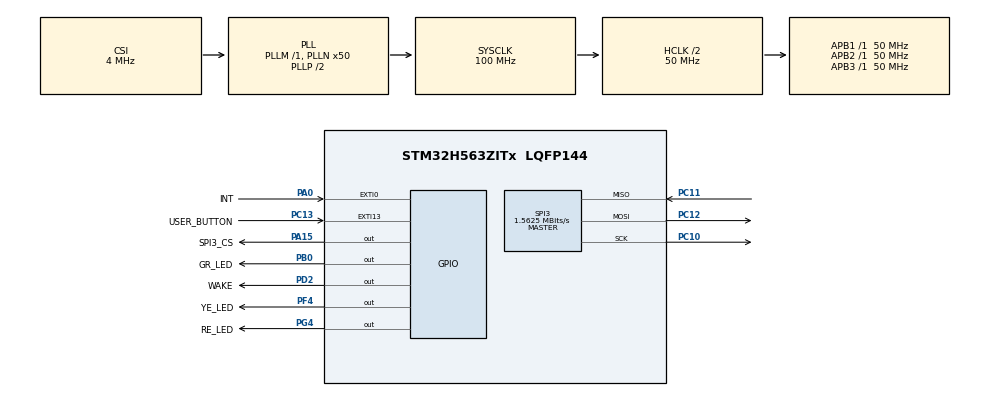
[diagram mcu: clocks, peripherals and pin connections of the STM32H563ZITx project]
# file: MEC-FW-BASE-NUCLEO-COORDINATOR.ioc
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BOOTPATH.BootPathName=LEGACY
BOOTPATH.UserSelectedBootPath=LEGACY
CORTEX_M33_NS.userName=CORTEX_M33
Mcu.Family=STM32H5
Mcu.Name=STM32H563ZITx
Mcu.Package=LQFP144
NVIC.EXTI0_IRQn=true\:0\:0\:false\:false\:true\:true\:true\:true
NVIC.EXTI13_IRQn=true\:0\:0\:false\:false\:true\:true\:true\:true
NVIC.PriorityGroup=NVIC_PRIORITYGROUP_4
NVIC.TIM6_IRQn=true\:0\:0\:false\:false\:true\:true\:true\:true
PA0.GPIO_Label=INT
PA0.GPIO_ModeDefaultEXTI=GPIO_MODE_IT_FALLING
PA0.Signal=GPXTI0
PA13(JTMS/SWDIO).Mode=Trace_Asynchronous_SW
PA13(JTMS/SWDIO).Signal=DEBUG_JTMS-SWDIO
PA14(JTCK/SWCLK).Mode=Trace_Asynchronous_SW
PA14(JTCK/SWCLK).Signal=DEBUG_JTCK-SWCLK
PA15(JTDI).GPIO_Label=SPI3_CS
PA15(JTDI).GPIO_Speed=GPIO_SPEED_FREQ_VERY_HIGH
PA15(JTDI).PinState=GPIO_PIN_SET
PA15(JTDI).Signal=GPIO_Output
PB0.GPIO_Label=GR_LED
PB0.Signal=GPIO_Output
PB3(JTDO/TRACESWO).Mode=Trace_Asynchronous_SW
PB3(JTDO/TRACESWO).Signal=DEBUG_JTDO-SWO
PC10.Mode=Full_Duplex_Master
PC10.Signal=SPI3_SCK
PC11.Mode=Full_Duplex_Master
PC11.Signal=SPI3_MISO
PC12.Mode=Full_Duplex_Master
PC12.Signal=SPI3_MOSI
PC13.GPIO_Label=USER_BUTTON
PC13.GPIO_ModeDefaultEXTI=GPIO_MODE_IT_RISING
PC13.Signal=GPXTI13
PD2.GPIO_Label=WAKE
PD2.Signal=GPIO_Output
PF4.GPIO_Label=YE_LED
PF4.Signal=GPIO_Output
PG4.GPIO_Label=RE_LED
PG4.Signal=GPIO_Output
ProjectManager.HeapSize=0x200
ProjectManager.StackSize=0x400
ProjectManager.TargetToolchain=STM32CubeIDE
RCC.ADCFreq_Value=50000000
RCC.AHBCLKDivider=RCC_SYSCLK_DIV2
RCC.AHBFreq_Value=50000000
RCC.APB1Freq_Value=50000000
RCC.APB1TimFreq_Value=50000000
RCC.APB2Freq_Value=50000000
RCC.APB2TimFreq_Value=50000000
RCC.APB3Freq_Value=50000000
RCC.CSI_VALUE=4000000
RCC.CortexFreq_Value=50000000
RCC.EPOD_VALUE=4000000
RCC.HCLKFreq_Value=50000000
RCC.HSE_VALUE=25000000
RCC.HSI48_VALUE=48000000
RCC.HSI_VALUE=64000000
RCC.LSE_VALUE=32768
RCC.LSIRC_VALUE=32000
RCC.PLLFRACN=0
RCC.PLLN=50
RCC.SYSCLKFreq_VALUE=100000000
RCC.SYSCLKSource=RCC_SYSCLKSOURCE_PLLCLK
RCC.USBFreq_Value=48000000
RCC.VCOOutputFreq_Value=200000000
SPI3.BaudRatePrescaler=SPI_BAUDRATEPRESCALER_64
SPI3.CalculateBaudRate=1.5625 MBits/s
SPI3.DataSize=SPI_DATASIZE_8BIT
SPI3.Direction=SPI_DIRECTION_2LINES
SPI3.Mode=SPI_MODE_MASTER
SPI3.NSSPMode=SPI_NSS_PULSE_DISABLE
SPI3.VirtualType=VM_MASTER
TIM6.PeriodNoDither=500-1
TIM6.Prescaler=50000-1
VP_BOOTPATH_VS_BOOTPATH.Mode=BP_Activate
VP_CORTEX_M33_NS_VS_Hclk.Mode=Hclk_Mode
VP_ICACHE_VS_ENABLE_ICACHE_MEMORY.Mode=Memoryregions
VP_ICACHE_VS_ICACHE.Mode=DirectMappedCache
VP_MEMORYMAP_VS_MEMORYMAP.Mode=CurAppReg
VP_PWR_VS_LPOM.Mode=PowerOptimisation
VP_PWR_VS_SECSignals.Mode=Security/Privilege
VP_TIM6_VS_ClockSourceINT.Mode=Enable_Timer
board=custom

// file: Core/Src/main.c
/* USER CODE BEGIN Header */
/**
  ******************************************************************************
  * @file           : main.c
  * @brief          : Main program body
  ******************************************************************************
  * @attention
  *
  * Copyright (c) 2026 STMicroelectronics.
  * All rights reserved.
  *
  * This software is licensed under terms that can be found in the LICENSE file
  * in the root directory of this software component.
  * If no LICENSE file comes with this software, it is provided AS-IS.
  *
  ******************************************************************************
  */
/* USER CODE END Header */

#include "main.h"

/* USER CODE BEGIN Includes */
#include "mrf24j40.h"
#include "swo.h"
/* USER CODE END Includes */

/* USER CODE BEGIN PTD */

/**
 * @brief Logical network role assigned to the local MRF24J40 node.
 *
 * @details
 * This role selection determines which nonbeacon MAC configuration helper is
 * applied during task initialization.
 */
typedef enum
{
    MRF24J40_ROLE_DEVICE = 0,
    MRF24J40_ROLE_PAN_COORDINATOR
} mrf24j40_role_t;

/**
 * @brief Static configuration used to initialize the MRF24J40 task.
 *
 * @details
 * This structure contains the minimum configuration required by the task to
 * initialize the low-level driver and assign the local node identity within a
 * nonbeacon-enabled IEEE 802.15.4 network.
 */
typedef struct
{
    uint16_t pan_id;
    uint16_t short_address;
    mrf24j40_role_t role;
} mrf24j40_task_config_t;

/* USER CODE END PTD */

SPI_HandleTypeDef hspi3;
TIM_HandleTypeDef htim6;

/* USER CODE BEGIN PV */
static mrf24j40_packet_t tx_packet;
static mrf24j40_packet_t rx_packet;
static bool tx_flag;
static mrf24j40_task_config_t radio_cfg;
/* USER CODE END PV */

void SystemClock_Config(void);
static void MX_GPIO_Init(void);
static void MX_ICACHE_Init(void);
static void MX_SPI3_Init(void);
static void MX_TIM6_Init(void);

/* USER CODE BEGIN PFP */
static void app_init(void);
static void app_task(void);
static void app_build_test_frame(void);
static void app_print_frame(const char *prefix,
                            const uint8_t *frame,
                            uint8_t length);
/* USER CODE END PFP */

int main(void)
{

  /* MCU Configuration--------------------------------------------------------*/

  /* Reset of all peripherals, Initializes the Flash interface and the Systick. */
  HAL_Init();

  /* Configure the system clock */
  SystemClock_Config();

  /* Initialize all configured peripherals */
  MX_GPIO_Init();
  MX_ICACHE_Init();
  MX_SPI3_Init();
  MX_TIM6_Init();

  /* USER CODE BEGIN 2 */

  /* Para toggle del led amarillo */
  HAL_TIM_Base_Start_IT(&htim6);

  app_init();

  /* USER CODE END 2 */

  /* Infinite loop */
  /* USER CODE BEGIN WHILE */
  while (1)
  {
      app_task();

    /* USER CODE END WHILE */

  }
}

void SystemClock_Config(void)
{
  RCC_OscInitTypeDef RCC_OscInitStruct = {0};
  RCC_ClkInitTypeDef RCC_ClkInitStruct = {0};

  /** Configure the main internal regulator output voltage
  */
  __HAL_PWR_VOLTAGESCALING_CONFIG(PWR_REGULATOR_VOLTAGE_SCALE3);

  while(!__HAL_PWR_GET_FLAG(PWR_FLAG_VOSRDY)) {}

  /** Initializes the RCC Oscillators according to the specified parameters
  * in the RCC_OscInitTypeDef structure.
  */
  RCC_OscInitStruct.OscillatorType = RCC_OSCILLATORTYPE_CSI;
  RCC_OscInitStruct.CSIState = RCC_CSI_ON;
  RCC_OscInitStruct.CSICalibrationValue = RCC_CSICALIBRATION_DEFAULT;
  RCC_OscInitStruct.PLL.PLLState = RCC_PLL_ON;
  RCC_OscInitStruct.PLL.PLLSource = RCC_PLL1_SOURCE_CSI;
  RCC_OscInitStruct.PLL.PLLM = 1;
  RCC_OscInitStruct.PLL.PLLN = 50;
  RCC_OscInitStruct.PLL.PLLP = 2;
  RCC_OscInitStruct.PLL.PLLQ = 2;
  RCC_OscInitStruct.PLL.PLLR = 2;
  RCC_OscInitStruct.PLL.PLLRGE = RCC_PLL1_VCIRANGE_2;
  RCC_OscInitStruct.PLL.PLLVCOSEL = RCC_PLL1_VCORANGE_WIDE;
  RCC_OscInitStruct.PLL.PLLFRACN = 0;

  if (HAL_RCC_OscConfig(&RCC_OscInitStruct) != HAL_OK)
  {
    Error_Handler();
  }

  /** Initializes the CPU, AHB and APB buses clocks
  */
  RCC_ClkInitStruct.ClockType = RCC_CLOCKTYPE_HCLK|RCC_CLOCKTYPE_SYSCLK
                              |RCC_CLOCKTYPE_PCLK1|RCC_CLOCKTYPE_PCLK2
                              |RCC_CLOCKTYPE_PCLK3;

  RCC_ClkInitStruct.SYSCLKSource = RCC_SYSCLKSOURCE_PLLCLK;
  RCC_ClkInitStruct.AHBCLKDivider = RCC_SYSCLK_DIV2;
  RCC_ClkInitStruct.APB1CLKDivider = RCC_HCLK_DIV1;
  RCC_ClkInitStruct.APB2CLKDivider = RCC_HCLK_DIV1;
  RCC_ClkInitStruct.APB3CLKDivider = RCC_HCLK_DIV1;

  if (HAL_RCC_ClockConfig(&RCC_ClkInitStruct, FLASH_LATENCY_4) != HAL_OK)
  {
    Error_Handler();
  }

  /** Configure the programming delay
  */
  __HAL_FLASH_SET_PROGRAM_DELAY(FLASH_PROGRAMMING_DELAY_2);
}

static void MX_ICACHE_Init(void)
{

  /** Enable instruction cache in 1-way (direct mapped cache)
  */
  if (HAL_ICACHE_ConfigAssociativityMode(ICACHE_1WAY) != HAL_OK)
  {
    Error_Handler();
  }

  if (HAL_ICACHE_Enable() != HAL_OK)
  {
    Error_Handler();
  }

}

static void MX_SPI3_Init(void)
{

  /* SPI3 parameter configuration*/
  hspi3.Instance = SPI3;
  hspi3.Init.Mode = SPI_MODE_MASTER;
  hspi3.Init.Direction = SPI_DIRECTION_2LINES;
  hspi3.Init.DataSize = SPI_DATASIZE_8BIT;
  hspi3.Init.CLKPolarity = SPI_POLARITY_LOW;
  hspi3.Init.CLKPhase = SPI_PHASE_1EDGE;
  hspi3.Init.NSS = SPI_NSS_SOFT;
  hspi3.Init.BaudRatePrescaler = SPI_BAUDRATEPRESCALER_64;
  hspi3.Init.FirstBit = SPI_FIRSTBIT_MSB;
  hspi3.Init.TIMode = SPI_TIMODE_DISABLE;
  hspi3.Init.CRCCalculation = SPI_CRCCALCULATION_DISABLE;
  hspi3.Init.CRCPolynomial = 0x7;
  hspi3.Init.NSSPMode = SPI_NSS_PULSE_DISABLE;
  hspi3.Init.NSSPolarity = SPI_NSS_POLARITY_LOW;
  hspi3.Init.FifoThreshold = SPI_FIFO_THRESHOLD_01DATA;
  hspi3.Init.MasterSSIdleness = SPI_MASTER_SS_IDLENESS_00CYCLE;
  hspi3.Init.MasterInterDataIdleness = SPI_MASTER_INTERDATA_IDLENESS_00CYCLE;
  hspi3.Init.MasterReceiverAutoSusp = SPI_MASTER_RX_AUTOSUSP_DISABLE;
  hspi3.Init.MasterKeepIOState = SPI_MASTER_KEEP_IO_STATE_DISABLE;
  hspi3.Init.IOSwap = SPI_IO_SWAP_DISABLE;
  hspi3.Init.ReadyMasterManagement = SPI_RDY_MASTER_MANAGEMENT_INTERNALLY;
  hspi3.Init.ReadyPolarity = SPI_RDY_POLARITY_HIGH;

  if (HAL_SPI_Init(&hspi3) != HAL_OK)
  {
    Error_Handler();
  }

}

static void MX_TIM6_Init(void)
{

  TIM_MasterConfigTypeDef sMasterConfig = {0};

  htim6.Instance = TIM6;
  htim6.Init.Prescaler = 50000-1;
  htim6.Init.CounterMode = TIM_COUNTERMODE_UP;
  htim6.Init.Period = 499;
  htim6.Init.AutoReloadPreload = TIM_AUTORELOAD_PRELOAD_DISABLE;

  if (HAL_TIM_Base_Init(&htim6) != HAL_OK)
  {
    Error_Handler();
  }

  sMasterConfig.MasterOutputTrigger = TIM_TRGO_RESET;
  sMasterConfig.MasterSlaveMode = TIM_MASTERSLAVEMODE_DISABLE;

  if (HAL_TIMEx_MasterConfigSynchronization(&htim6, &sMasterConfig) != HAL_OK)
  {
    Error_Handler();
  }

}

static void MX_GPIO_Init(void)
{
  GPIO_InitTypeDef GPIO_InitStruct = {0};

  /* GPIO Ports Clock Enable */
  __HAL_RCC_GPIOC_CLK_ENABLE();
  __HAL_RCC_GPIOF_CLK_ENABLE();
  __HAL_RCC_GPIOA_CLK_ENABLE();
  __HAL_RCC_GPIOB_CLK_ENABLE();
  __HAL_RCC_GPIOG_CLK_ENABLE();
  __HAL_RCC_GPIOD_CLK_ENABLE();

  /*Configure GPIO pin Output Level */
  HAL_GPIO_WritePin(YE_LED_GPIO_Port, YE_LED_Pin, GPIO_PIN_RESET);

  /*Configure GPIO pin Output Level */
  HAL_GPIO_WritePin(GR_LED_GPIO_Port, GR_LED_Pin, GPIO_PIN_RESET);

  /*Configure GPIO pin Output Level */
  HAL_GPIO_WritePin(RE_LED_GPIO_Port, RE_LED_Pin, GPIO_PIN_RESET);

  /*Configure GPIO pin Output Level */
  HAL_GPIO_WritePin(SPI3_CS_GPIO_Port, SPI3_CS_Pin, GPIO_PIN_SET);

  /*Configure GPIO pin Output Level */
  HAL_GPIO_WritePin(WAKE_GPIO_Port, WAKE_Pin, GPIO_PIN_RESET);

  /*Configure GPIO pin : USER_BUTTON_Pin */
  GPIO_InitStruct.Pin = USER_BUTTON_Pin;
  GPIO_InitStruct.Mode = GPIO_MODE_IT_RISING;
  GPIO_InitStruct.Pull = GPIO_NOPULL;
  HAL_GPIO_Init(USER_BUTTON_GPIO_Port, &GPIO_InitStruct);

  /*Configure GPIO pin : YE_LED_Pin */
  GPIO_InitStruct.Pin = YE_LED_Pin;
  GPIO_InitStruct.Mode = GPIO_MODE_OUTPUT_PP;
  GPIO_InitStruct.Pull = GPIO_NOPULL;
  GPIO_InitStruct.Speed = GPIO_SPEED_FREQ_LOW;
  HAL_GPIO_Init(YE_LED_GPIO_Port, &GPIO_InitStruct);

  /*Configure GPIO pin : INT_Pin */
  GPIO_InitStruct.Pin = INT_Pin;
  GPIO_InitStruct.Mode = GPIO_MODE_IT_FALLING;
  GPIO_InitStruct.Pull = GPIO_NOPULL;
  HAL_GPIO_Init(INT_GPIO_Port, &GPIO_InitStruct);

  /*Configure GPIO pin : GR_LED_Pin */
  GPIO_InitStruct.Pin = GR_LED_Pin;
  GPIO_InitStruct.Mode = GPIO_MODE_OUTPUT_PP;
  GPIO_InitStruct.Pull = GPIO_NOPULL;
  GPIO_InitStruct.Speed = GPIO_SPEED_FREQ_LOW;
  HAL_GPIO_Init(GR_LED_GPIO_Port, &GPIO_InitStruct);

  /*Configure GPIO pin : RE_LED_Pin */
  GPIO_InitStruct.Pin = RE_LED_Pin;
  GPIO_InitStruct.Mode = GPIO_MODE_OUTPUT_PP;
  GPIO_InitStruct.Pull = GPIO_NOPULL;
  GPIO_InitStruct.Speed = GPIO_SPEED_FREQ_LOW;
  HAL_GPIO_Init(RE_LED_GPIO_Port, &GPIO_InitStruct);

  /*Configure GPIO pin : SPI3_CS_Pin */
  GPIO_InitStruct.Pin = SPI3_CS_Pin;
  GPIO_InitStruct.Mode = GPIO_MODE_OUTPUT_PP;
  GPIO_InitStruct.Pull = GPIO_NOPULL;
  GPIO_InitStruct.Speed = GPIO_SPEED_FREQ_VERY_HIGH;
  HAL_GPIO_Init(SPI3_CS_GPIO_Port, &GPIO_InitStruct);

  /*Configure GPIO pin : WAKE_Pin */
  GPIO_InitStruct.Pin = WAKE_Pin;
  GPIO_InitStruct.Mode = GPIO_MODE_OUTPUT_PP;
  GPIO_InitStruct.Pull = GPIO_NOPULL;
  GPIO_InitStruct.Speed = GPIO_SPEED_FREQ_LOW;
  HAL_GPIO_Init(WAKE_GPIO_Port, &GPIO_InitStruct);

  /* EXTI interrupt init*/
  HAL_NVIC_SetPriority(EXTI0_IRQn, 0, 0);
  HAL_NVIC_EnableIRQ(EXTI0_IRQn);

  HAL_NVIC_SetPriority(EXTI13_IRQn, 0, 0);
  HAL_NVIC_EnableIRQ(EXTI13_IRQn);

}

/* USER CODE BEGIN 4 */

static void app_print_frame(const char *prefix,
                            const uint8_t *frame,
                            uint8_t length)
{
    uint8_t i;

    printf("%s", prefix);

    for (i = 0u; i < length; i++)
    {
        printf("%02X", frame[i]);

        if (i < (length - 1u))
        {
            printf(" ");
        }
    }

    printf("\r\n");
}

static void app_init(void)
{
    radio_cfg.pan_id = 0x1234u;
    radio_cfg.short_address = 0x0001u;
    radio_cfg.role = MRF24J40_ROLE_PAN_COORDINATOR;

    (void)mrf24j40_init();

    if (radio_cfg.role == MRF24J40_ROLE_PAN_COORDINATOR)
    {
        (void)mrf24j40_configure_nonbeacon_pan_coordinator();
    }
    else
    {
        (void)mrf24j40_configure_nonbeacon_device();
    }

    (void)mrf24j40_set_pan_id(radio_cfg.pan_id);
    (void)mrf24j40_set_short_address(radio_cfg.short_address);
    (void)mrf24j40_set_extended_address();

    printf("[RADIO] COORDINATOR READY - PAN: 0x%04X - ADDR: 0x%04X\r\n",
           radio_cfg.pan_id,
           radio_cfg.short_address);
}

static void app_task(void)
{
    mrf24j40_status_t status;
    bool tx_complete;

    /* Verifica interrupciones pendientes */
    (void)mrf24j40_update_interrupt_flags();

    /* Si hay mensaje pendiente, lo lee y procesa */
    status = mrf24j40_read_rx_fifo(&rx_packet);

    if (status == MRF24J40_OK)
    {
        printf("[RADIO] RX LENGTH: %u\r\n",
               (unsigned int)rx_packet.frame_length);

        printf("[RADIO] RX: %02X %02X %02X %02X %02X %02X "
               "%02X %02X %02X %02X %02X %02X\r\n",
               rx_packet.frame[0],
               rx_packet.frame[1],
               rx_packet.frame[2],
               rx_packet.frame[3],
               rx_packet.frame[4],
               rx_packet.frame[5],
               rx_packet.frame[6],
               rx_packet.frame[7],
               rx_packet.frame[8],
               rx_packet.frame[9],
               rx_packet.frame[10],
               rx_packet.frame[11]);

        __NOP();
    }

    /* Verifica si se debe transmitir un paquete */
    if (tx_flag == 1u)
    {
        /* Deshabilita bandera de transmision */
        tx_flag = 0u;

        /* Arma el paquete a transmitir */
        app_build_test_frame();

        app_print_frame("[RADIO] TX: ",
                        tx_packet.frame,
                        tx_packet.frame_length);

        /* Transmite paquete con ACK deshabilitado */
        (void)mrf24j40_write_tx_normal_fifo(&tx_packet, false);
    }

    /* Espera confirmación de transmision */
    status = mrf24j40_get_tx_complete(&tx_complete);

    if ((status == MRF24J40_OK) && (tx_complete == true))
    {
        printf("[RADIO] TX COMPLETE\r\n");
    }
}

static void app_build_test_frame(void)
{
    tx_packet.frame[0] = 0x41u;
    tx_packet.frame[1] = 0x88u;
    tx_packet.frame[2] = 0x01u;
    tx_packet.frame[3] = 0x34u;
    tx_packet.frame[4] = 0x12u;
    tx_packet.frame[5] = 0x01u;
    tx_packet.frame[6] = 0x00u;
    tx_packet.frame[7] = 0x02u;
    tx_packet.frame[8] = 0x00u;
    tx_packet.frame[9]  = 0x01u;
    tx_packet.frame[10] = 0x02u;
    tx_packet.frame[11] = 0x03u;
    tx_packet.frame_length = 12;
}

void HAL_GPIO_EXTI_Falling_Callback(uint16_t GPIO_Pin)
{
    if (GPIO_Pin == INT_Pin)
    {
        mrf24j40_set_interrupt_pending();

        printf("[RADIO] IRQ\r\n");
    }
}

void HAL_GPIO_EXTI_Rising_Callback(uint16_t GPIO_Pin)
{
    if (GPIO_Pin == USER_BUTTON_Pin)
    {
        HAL_GPIO_TogglePin(GR_LED_GPIO_Port, GR_LED_Pin);

        tx_flag = 1u;
    }
}

void HAL_TIM_PeriodElapsedCallback(TIM_HandleTypeDef *htim)
{
    if(htim->Instance == TIM6)
    {
        HAL_GPIO_TogglePin(YE_LED_GPIO_Port, YE_LED_Pin);
    }
}

/* USER CODE END 4 */

void Error_Handler(void)
{
  __disable_irq();
  while (1)
  {
  }
}
